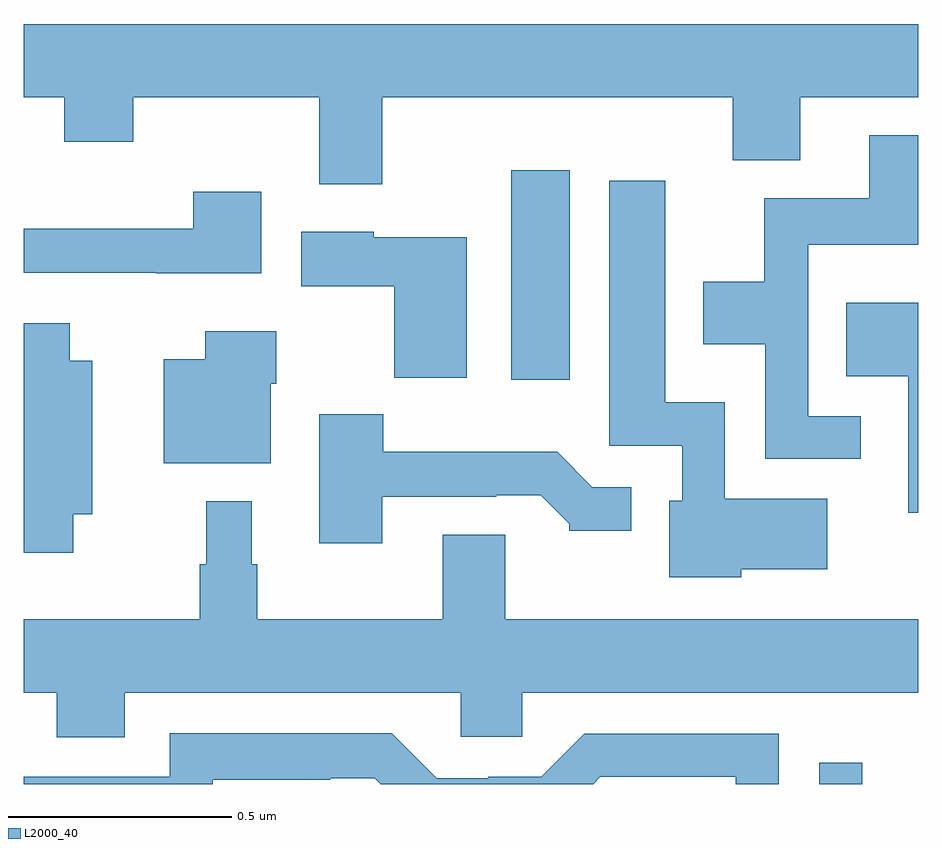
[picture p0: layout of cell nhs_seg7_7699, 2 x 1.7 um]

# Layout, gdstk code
import gdstk
lib = gdstk.Library(unit=1e-6, precision=1e-09)
def R(c, l, rs):  # rectangles x0, y0, x1, y1
    for r in rs: c.add(gdstk.rectangle(r[:2], r[2:], *l))
def P(c, l, *ps):  # polygons
    for p in ps: c.add(gdstk.Polygon(p, *l))
L2000_40 = (2000, 40)

nhs_seg7_7699 = lib.new_cell('nhs_seg7_7699')
R(nhs_seg7_7699, L2000_40, [(215.779,1079,215.875,1079.047), (215.09,1079.904,215.221,1080.373)])
P(nhs_seg7_7699, L2000_40, [(214.801,1080.536),(215.585,1080.536),(215.585,1080.395),(215.737,1080.395),(215.737,1080.536),(216,1080.536),(216,1080.7),(214,1080.7),(214,1080.536),(214.09,1080.536),(214.09,1080.437),(214.245,1080.437),(214.245,1080.536),(214.661,1080.536),(214.661,1080.342),(214.801,1080.342)],
  [(215.872,1079.823),(215.754,1079.823),(215.754,1080.206),(216,1080.206),(216,1080.451),(215.891,1080.451),(215.891,1080.31),(215.656,1080.31),(215.656,1080.124),(215.519,1080.124),(215.519,1079.984),(215.658,1079.984),(215.658,1079.727),(215.872,1079.727)],
  [(215.604,1079.48),(215.797,1079.48),(215.797,1079.638),(215.568,1079.638),(215.568,1079.854),(215.434,1079.854),(215.434,1080.349),(215.309,1080.349),(215.309,1079.757),(215.472,1079.757),(215.472,1079.634),(215.444,1079.634),(215.444,1079.462),(215.604,1079.462)],
  [(214.531,1080.325),(214.379,1080.325),(214.379,1080.242),(214,1080.242),(214,1080.144),(214.295,1080.144),(214.295,1080.143),(214.531,1080.143)],
  [(214.99,1080.223),(214.782,1080.223),(214.782,1080.235),(214.62,1080.235),(214.62,1080.113),(214.828,1080.113),(214.828,1079.909),(214.99,1079.909)],
  [(216,1080.076),(215.839,1080.076),(215.839,1079.912),(215.978,1079.912),(215.978,1079.607),(216,1079.607)],
  [(214.11,1079.603),(214.153,1079.603),(214.153,1079.947),(214.102,1079.947),(214.102,1080.031),(214,1080.031),(214,1079.517),(214.11,1079.517)],
  [(214.552,1079.895),(214.564,1079.895),(214.564,1080.013),(214.406,1080.013),(214.406,1079.95),(214.313,1079.95),(214.313,1079.717),(214.552,1079.717)],
  [(214.801,1079.643),(215.057,1079.643),(215.057,1079.646),(215.156,1079.646),(215.22,1079.582),(215.22,1079.567),(215.359,1079.567),(215.359,1079.664),(215.271,1079.664),(215.193,1079.743),(214.804,1079.743),(214.804,1079.827),(214.661,1079.827),(214.661,1079.538),(214.801,1079.538)],
  [(214.408,1079.632),(214.408,1079.492),(214.393,1079.492),(214.393,1079.368),(214,1079.368),(214,1079.204),(214.073,1079.204),(214.073,1079.105),(214.225,1079.105),(214.225,1079.204),(214.977,1079.204),(214.977,1079.106),(215.115,1079.106),(215.115,1079.204),(216,1079.204),(216,1079.368),(215.077,1079.368),(215.077,1079.558),(214.937,1079.558),(214.937,1079.368),(214.522,1079.368),(214.522,1079.492),(214.51,1079.492),(214.51,1079.632)],
  [(214.422,1079.009),(214.685,1079.009),(214.685,1079.013),(214.785,1079.013),(214.798,1079),(215.273,1079),(215.289,1079.016),(215.592,1079.016),(215.592,1079),(215.688,1079),(215.688,1079.112),(215.253,1079.112),(215.157,1079.016),(215.039,1079.016),(215.039,1079.013),(214.923,1079.013),(214.823,1079.113),(214.326,1079.113),(214.326,1079.016),(214,1079.016),(214,1079),(214.422,1079)])

lib.write_gds('nhs_seg7_7699.gds')
